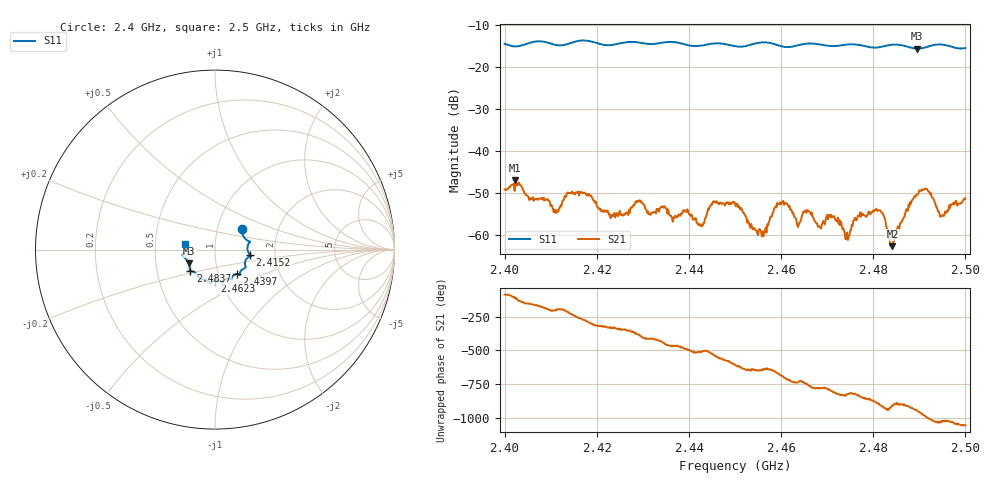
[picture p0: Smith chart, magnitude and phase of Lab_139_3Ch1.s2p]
# Hz S RI R 50
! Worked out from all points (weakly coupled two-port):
!   601 points, 2.4 GHz to 2.5 GHz, reference 50 ohm
!   highest |S21| = -46.94 dB at 2.4023 GHz (marker M1); lowest = -62.6 dB at 2.4842 GHz (marker M2)
!   lowest |S11| = -15.7 dB at 2.4895 GHz (marker M3), VSWR 1.39, Z = 36.8 - j5.72 ohm
!   |S11| at or under -10 dB: start of sweep to end of sweep
!   S12 and S22 are empty: the file has one direction only
!   S11 on the Smith chart (normalised r, x): 2.4 GHz: 1.31, +0.31; 2.4152 GHz: 1.48, -0.09; 2.4397 GHz: 1.22, -0.34; 2.4623 GHz: 0.94, -0.34; 2.4837 GHz: 0.74, -0.18; 2.5 GHz: 0.72, +0.05
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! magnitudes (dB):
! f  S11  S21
! 2.4 GHz  -14.5  -49.1
! 2.4023 GHz  -15.2  -46.9
! 2.4112 GHz  -14.8  -54.7
! 2.4152 GHz  -14.1  -49.9
! 2.4167 GHz  -13.7  -49.7
! 2.4232 GHz  -14.8  -55.4
! 2.4333 GHz  -14.4  -53.7
! 2.4397 GHz  -14.8  -53.8
! 2.4425 GHz  -15.0  -57.5
! 2.45 GHz  -15.1  -52.4
! 2.4553 GHz  -14.2  -58.5
! 2.4593 GHz  -14.9  -52.7
! 2.4623 GHz  -15.2  -54.2
! 2.4667 GHz  -14.4  -54.5
! 2.4743 GHz  -14.7  -59.3
! 2.4812 GHz  -15.4  -54.1
! 2.4833 GHz  -14.8  -59.9
! 2.4837 GHz  -14.8  -62.5
! 2.4842 GHz  -14.7  -62.6
! 2.4895 GHz  -15.7  -50.4
! 2.4948 GHz  -14.7  -55.3
! 2.5 GHz  -15.5  -51.3
